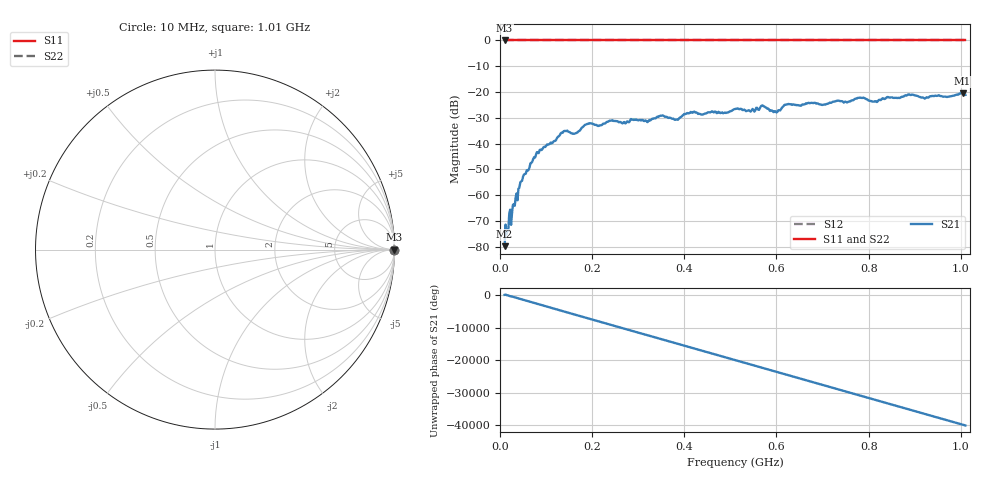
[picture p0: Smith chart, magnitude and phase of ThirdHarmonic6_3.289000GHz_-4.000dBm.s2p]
! 8/17/2025 10:13:19 AM
! C:\ANRITSUVNA\TEMP\TEMP.S2P
! CHANNEL.1
! TR.MEASUREMENT
! RAW.DATA
! RF.CORRECTION.OFF
! AVERAGING.OFF
! IF.BANDWIDTH: 5KHZ
! SWEEPTYPE:  FREQ.SWEEP(Linear)
! Reference Plane Port Info
! PORT:  PORT1  PORT2
! DISTANCE:  0  m  0  m
! TIME:  0  s  0  s
! PHASE.OFFSET:  0  deg.  0  deg.
! LOSS:  0  dB  0  dB
! REF.LOSS:  0  dB  0  dB
! REF.FREQ:  0  Hz  0  Hz
! Power Info
! POWER:  -20  dBm  -20  dBm
! EFF.POWER:  -20  dBm  -20  dBm
! SOURCE.ATTEN:  0  dB  0  dB
! TEST.ATTEN:  0  dB  0  dB
# GHZ S RI R 50.0
! FREQ.GHZ  S11RE  S11IM  S21RE  S21IM  S12RE  S12IM  S22RE  S22IM
!; PortSelection: Port_12
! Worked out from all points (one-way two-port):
!   501 points, 10 MHz to 1.01 GHz, reference 50 ohm
!   highest |S21| = -20.51 dB at 1.004 GHz (marker M1); lowest = -79.8 dB at 10 MHz (marker M2)
!   lowest |S11| = 0.0 dB at 10 MHz (marker M3)
!   |S11| at or under -10 dB: nowhere
!   |S22| runs from 0.0 to 0.0 dB; largest |S21 - S12| = 1.1
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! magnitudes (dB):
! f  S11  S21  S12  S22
! 10 MHz  0.0  -79.8  0.0  0.0
! 24 MHz  0.0  -71.6  0.0  0.0
! 48 MHz  0.0  -54.4  0.0  0.0
! 78 MHz  0.0  -44.4  0.0  0.0
! 136 MHz  0.0  -35.8  0.0  0.0
! 162 MHz  0.0  -36.2  0.0  0.0
! 178 MHz  0.0  -33.8  0.0  0.0
! 194 MHz  0.0  -32.1  0.0  0.0
! 318 MHz  0.0  -31.3  0.0  0.0
! 344 MHz  0.0  -29.7  0.0  0.0
! 382 MHz  0.0  -30.7  0.0  0.0
! 418 MHz  0.0  -28.0  0.0  0.0
! 510 MHz  0.0  -26.6  0.0  0.0
! 570 MHz  0.0  -25.2  0.0  0.0
! 598 MHz  0.0  -27.5  0.0  0.0
! 622 MHz  0.0  -24.9  0.0  0.0
! 678 MHz  0.0  -24.3  0.0  0.0
! 780 MHz  0.0  -22.2  0.0  0.0
! 814 MHz  0.0  -23.6  0.0  0.0
! 844 MHz  0.0  -22.1  0.0  0.0
! 1.004 GHz  0.0  -20.5  0.0  0.0
! 1.01 GHz  0.0  -21.1  0.0  0.0
